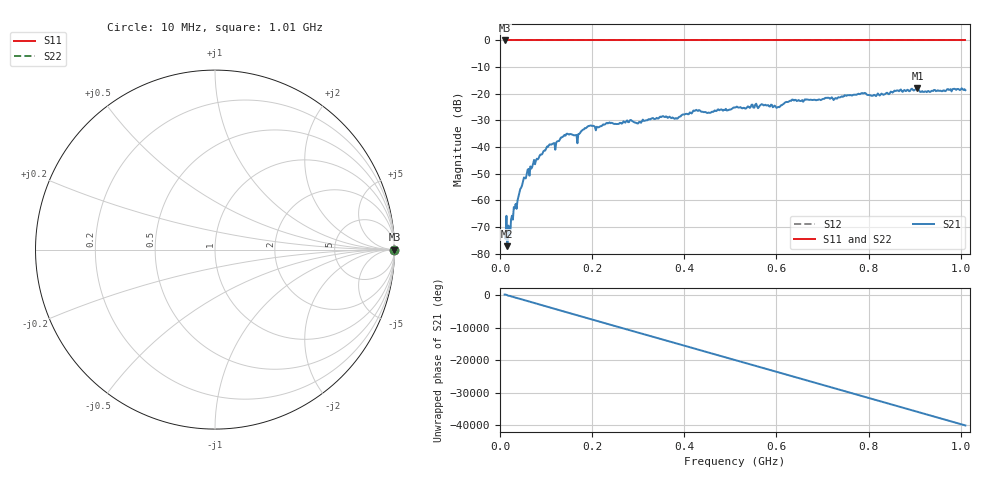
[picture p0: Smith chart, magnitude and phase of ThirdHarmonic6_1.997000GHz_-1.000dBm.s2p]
! 8/16/2025 11:59:57 PM
! C:\ANRITSUVNA\TEMP\TEMP.S2P
! CHANNEL.1
! TR.MEASUREMENT
! RAW.DATA
! RF.CORRECTION.OFF
! AVERAGING.OFF
! IF.BANDWIDTH: 5KHZ
! SWEEPTYPE:  FREQ.SWEEP(Linear)
! Reference Plane Port Info
! PORT:  PORT1  PORT2
! DISTANCE:  0  m  0  m
! TIME:  0  s  0  s
! PHASE.OFFSET:  0  deg.  0  deg.
! LOSS:  0  dB  0  dB
! REF.LOSS:  0  dB  0  dB
! REF.FREQ:  0  Hz  0  Hz
! Power Info
! POWER:  -20  dBm  -20  dBm
! EFF.POWER:  -20  dBm  -20  dBm
! SOURCE.ATTEN:  0  dB  0  dB
! TEST.ATTEN:  0  dB  0  dB
# GHZ S RI R 50.0
! FREQ.GHZ  S11RE  S11IM  S21RE  S21IM  S12RE  S12IM  S22RE  S22IM
!; PortSelection: Port_12
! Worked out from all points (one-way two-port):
!   501 points, 10 MHz to 1.01 GHz, reference 50 ohm
!   highest |S21| = -17.92 dB at 906 MHz (marker M1); lowest = -77.2 dB at 16 MHz (marker M2)
!   lowest |S11| = 0.0 dB at 10 MHz (marker M3)
!   |S11| at or under -10 dB: nowhere
!   |S22| runs from 0.0 to 0.0 dB; largest |S21 - S12| = 1.1
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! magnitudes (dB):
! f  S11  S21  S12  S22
! 10 MHz  0.0  -73.0  0.0  0.0
! 16 MHz  0.0  -77.2  0.0  0.0
! 20 MHz  0.0  -71.0  0.0  0.0
! 28 MHz  0.0  -67.2  0.0  0.0
! 48 MHz  0.0  -54.3  0.0  0.0
! 70 MHz  0.0  -47.4  0.0  0.0
! 106 MHz  0.0  -39.3  0.0  0.0
! 144 MHz  0.0  -35.0  0.0  0.0
! 168 MHz  0.0  -38.6  0.0  0.0
! 178 MHz  0.0  -33.8  0.0  0.0
! 194 MHz  0.0  -32.0  0.0  0.0
! 344 MHz  0.0  -29.3  0.0  0.0
! 382 MHz  0.0  -29.2  0.0  0.0
! 424 MHz  0.0  -26.3  0.0  0.0
! 454 MHz  0.0  -27.1  0.0  0.0
! 510 MHz  0.0  -25.2  0.0  0.0
! 604 MHz  0.0  -24.9  0.0  0.0
! 632 MHz  0.0  -22.6  0.0  0.0
! 678 MHz  0.0  -22.3  0.0  0.0
! 844 MHz  0.0  -20.2  0.0  0.0
! 906 MHz  0.0  -17.9  0.0  0.0
! 1.01 GHz  0.0  -18.6  0.0  0.0
